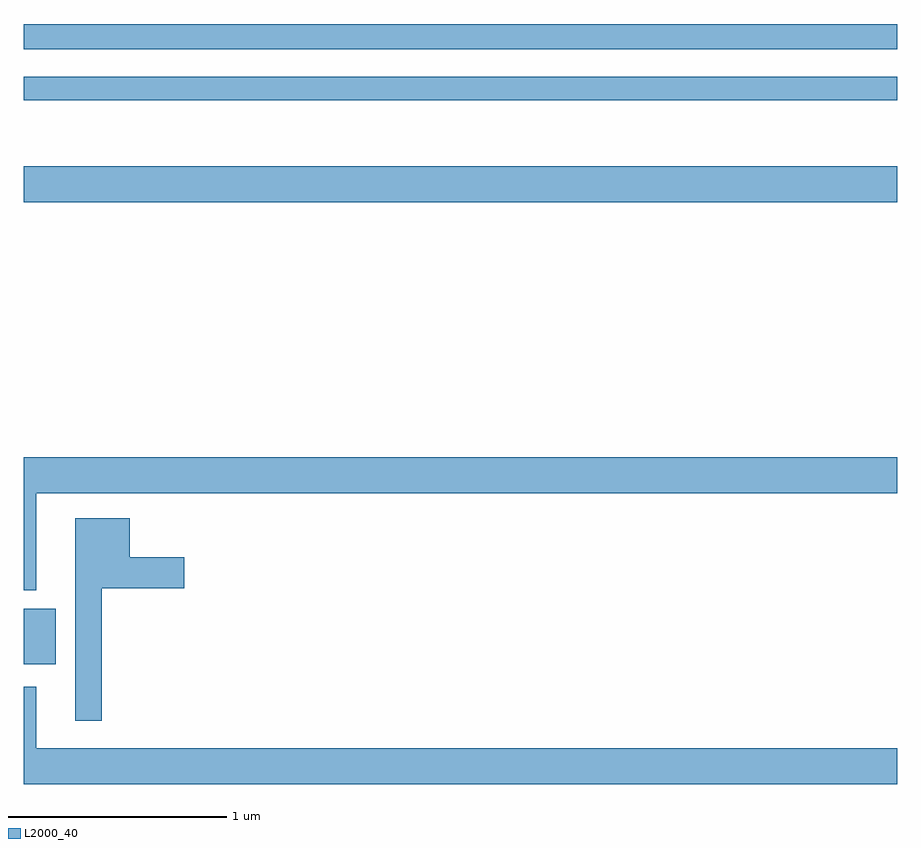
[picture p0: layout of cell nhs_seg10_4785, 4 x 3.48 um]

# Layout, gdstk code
import gdstk
lib = gdstk.Library(unit=1e-6, precision=1e-09)
def R(c, l, rs):  # rectangles x0, y0, x1, y1
    for r in rs: c.add(gdstk.rectangle(r[:2], r[2:], *l))
def P(c, l, *ps):  # polygons
    for p in ps: c.add(gdstk.Polygon(p, *l))
L2000_40 = (2000, 40)

nhs_seg10_4785 = lib.new_cell('nhs_seg10_4785')
R(nhs_seg10_4785, L2000_40, [(385,1315.517,385.147,1315.771), (385,1317.632,389,1317.796), (385,1318.098,389,1318.206), (385,1318.332,389,1318.448)])
P(nhs_seg10_4785, L2000_40, [(385.057,1316.3),(389,1316.3),(389,1316.464),(385,1316.464),(385,1315.856),(385.057,1315.856)],
  [(385.357,1315.865),(385.735,1315.865),(385.735,1316.007),(385.486,1316.007),(385.486,1316.185),(385.235,1316.185),(385.235,1315.257),(385.357,1315.257)],
  [(389,1315.132),(385.057,1315.132),(385.057,1315.414),(385,1315.414),(385,1314.968),(389,1314.968)])

lib.write_gds('nhs_seg10_4785.gds')
